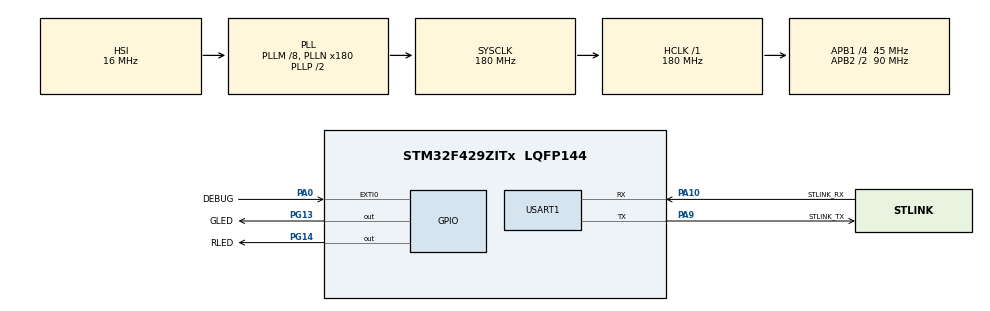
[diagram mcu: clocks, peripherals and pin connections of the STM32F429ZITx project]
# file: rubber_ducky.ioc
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Mcu.Family=STM32F4
Mcu.Name=STM32F429ZITx
Mcu.Package=LQFP144
NVIC.PriorityGroup=NVIC_PRIORITYGROUP_0
NVIC.RTC_Alarm_IRQn=true\:0\:0\:false\:false\:true\:true\:true
NVIC.TIM6_DAC_IRQn=true\:0\:0\:false\:false\:true\:true\:true
NVIC.USART1_IRQn=true\:0\:0\:false\:false\:true\:true\:true
PA0/WKUP.GPIO_Label=DEBUG
PA0/WKUP.Signal=GPXTI0
PA10.GPIO_Label=STLINK_RX
PA10.Mode=Asynchronous
PA10.Signal=USART1_RX
PA13.Mode=Serial_Wire
PA13.Signal=SYS_JTMS-SWDIO
PA14.Mode=Serial_Wire
PA14.Signal=SYS_JTCK-SWCLK
PA9.GPIO_Label=STLINK_TX
PA9.Mode=Asynchronous
PA9.Signal=USART1_TX
PG13.GPIO_Label=GLED
PG13.Signal=GPIO_Output
PG14.GPIO_Label=RLED
PG14.Signal=GPIO_Output
PH0/OSC_IN.Mode=HSE-External-Oscillator
PH0/OSC_IN.Signal=RCC_OSC_IN
PH1/OSC_OUT.Mode=HSE-External-Oscillator
PH1/OSC_OUT.Signal=RCC_OSC_OUT
ProjectManager.HeapSize=0x200
ProjectManager.StackSize=0x400
ProjectManager.TargetToolchain=STM32CubeIDE
RCC.48MHZClocksFreq_Value=51428571.428571425
RCC.AHBFreq_Value=180000000
RCC.APB1CLKDivider=RCC_HCLK_DIV4
RCC.APB1Freq_Value=45000000
RCC.APB1TimFreq_Value=90000000
RCC.APB2CLKDivider=RCC_HCLK_DIV2
RCC.APB2Freq_Value=90000000
RCC.APB2TimFreq_Value=180000000
RCC.CortexFreq_Value=180000000
RCC.HCLKFreq_Value=180000000
RCC.HSE_VALUE=8000000
RCC.HSI_VALUE=16000000
RCC.LSE_VALUE=32768
RCC.PLLM=8
RCC.PLLN=180
RCC.PLLQ=7
RCC.SYSCLKFreq_VALUE=180000000
RCC.SYSCLKSource=RCC_SYSCLKSOURCE_PLLCLK
RCC.VCOOutputFreq_Value=360000000
RTC.Alarm=RTC_ALARM_A
RTC.AlarmDateWeekDay=RTC_WEEKDAY_THURSDAY
RTC.AlarmDateWeekDaySel=RTC_ALARMDATEWEEKDAYSEL_WEEKDAY
RTC.Date=17
RTC.Format=RTC_FORMAT_BIN
RTC.Hours=21
RTC.Hours_A=21
RTC.Minutes=3
RTC.Minutes_A=10
RTC.Month=RTC_MONTH_DECEMBER
RTC.Seconds=30
RTC.Seconds_A=30
RTC.WeekDay=RTC_WEEKDAY_THURSDAY
TIM6.Period=999
TIM6.Prescaler=89
USART1.Parity=PARITY_NONE
USART1.VirtualMode=VM_ASYNC
VP_RTC_VS_RTC_Activate.Mode=RTC_Enabled
VP_RTC_VS_RTC_Alarm_A_Intern.Mode=Alarm A
VP_RTC_VS_RTC_Calendar.Mode=RTC_Calendar
VP_TIM6_VS_ClockSourceINT.Mode=Enable_Timer
board=STM32F429I-DISC1

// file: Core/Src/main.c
/* USER CODE BEGIN Header */
/**
  ******************************************************************************
  * @file           : main.c
  * @brief          : Main program body
  ******************************************************************************
  * @attention
  *
  * <h2><center>&copy; Copyright (c) 2020 STMicroelectronics.
  * All rights reserved.</center></h2>
  *
  * This software component is licensed by ST under BSD 3-Clause license,
  * the "License"; You may not use this file except in compliance with the
  * License. You may obtain a copy of the License at:
  *                        opensource.org/licenses/BSD-3-Clause
  *
  ******************************************************************************
  */
/* USER CODE END Header */

#include "main.h"
#include "rtc.h"
#include "tim.h"
#include "usart.h"
#include "gpio.h"

/* USER CODE BEGIN Includes */
#include <stdio.h>
/* USER CODE END Includes */

/* USER CODE BEGIN PV */
char echoChar = '\n';
uint8_t count = 0;
/* USER CODE END PV */

void SystemClock_Config(void);
/* USER CODE BEGIN PFP */
//int _write(int file, char *ptr, int len)
//{
//  /* Implement your write code here, this is used by puts and printf for example */
//  int i=0;
//  for(i=0 ; i<len ; i++)
//    ITM_SendChar((*ptr++));
//  return len;
//}

#ifdef __GNUC__
  /* With GCC/RAISONANCE, small printf (option LD Linker->Libraries->Small printf
     set to 'Yes') calls __io_putchar() */
  #define PUTCHAR_PROTOTYPE int __io_putchar(int ch)
#else
  #define PUTCHAR_PROTOTYPE int fputc(int ch, FILE *f)
#endif /* __GNUC__ */
/**
  * @brief  Retargets the C library printf function to the USART.
  * @param  None
  * @retval None
  */
PUTCHAR_PROTOTYPE
{
  /* Place your implementation of fputc here */
  /* e.g. write a character to the EVAL_COM1 and Loop until the end of transmission */
  HAL_UART_Transmit(&huart1, (uint8_t *)&ch, 1, 0xFFFF);

  return ch;
}

void HAL_UART_RxCpltCallback(UART_HandleTypeDef *huart)
{
  /* Prevent unused argument(s) compilation warning */
  UNUSED(huart);

  /* NOTE : This function should not be modified, when the callback is needed,
            the HAL_UART_RxCpltCallback can be implemented in the user file
   */
  if (echoChar == '\n')
  {
	  printf("\n");
  }
  else
  {
	  HAL_UART_Transmit(&huart1, (uint8_t *)&echoChar, 1, 0xFFFF);
  }
  HAL_UART_Receive_IT(&huart1, (uint8_t *)&echoChar, 1);
}

void HAL_TIM_PeriodElapsedCallback(TIM_HandleTypeDef *htim)
{
	static uint64_t time_raw = 0;
	time_raw++;
	static uint32_t time_s = 0;
	static uint32_t time_ms = 0;
	time_ms = time_raw % 1000;
	if(time_ms == 0)
	{

		time_s = (time_raw % 60000) / 1000;
		printf("%ld seconds elapsed! \n\r", time_s);
	}

}
/* USER CODE END PFP */

int main(void)
{

  /* MCU Configuration--------------------------------------------------------*/

  /* Reset of all peripherals, Initializes the Flash interface and the Systick. */
  HAL_Init();

  /* Configure the system clock */
  SystemClock_Config();

  /* Initialize all configured peripherals */
  MX_GPIO_Init();
  MX_USART1_UART_Init();
  MX_TIM6_Init();
  MX_RTC_Init();

  /* USER CODE BEGIN 2 */

  printf("\n\r Hello UART\n\r");
  printf("\n\r Hello Printf\n\r");
  HAL_TIM_Base_Start_IT(&htim6);
  HAL_UART_Receive_IT(&huart1, (uint8_t *)&echoChar, 1);

  /* USER CODE END 2 */

  /* Infinite loop */
  while (1)
  {

    /* USER CODE BEGIN 3 */
	  HAL_GPIO_TogglePin(RLED_GPIO_Port, RLED_Pin);
	  //count++;
	  //printf("\n\r Hello from main: %d \n\r", count);

	  HAL_Delay(1000);
  }
  /* USER CODE END 3 */
}

void SystemClock_Config(void)
{
  RCC_OscInitTypeDef RCC_OscInitStruct = {0};
  RCC_ClkInitTypeDef RCC_ClkInitStruct = {0};
  RCC_PeriphCLKInitTypeDef PeriphClkInitStruct = {0};

  /** Configure the main internal regulator output voltage
  */
  __HAL_RCC_PWR_CLK_ENABLE();
  __HAL_PWR_VOLTAGESCALING_CONFIG(PWR_REGULATOR_VOLTAGE_SCALE1);
  /** Initializes the CPU, AHB and APB busses clocks
  */
  RCC_OscInitStruct.OscillatorType = RCC_OSCILLATORTYPE_HSI|RCC_OSCILLATORTYPE_LSI;
  RCC_OscInitStruct.HSIState = RCC_HSI_ON;
  RCC_OscInitStruct.HSICalibrationValue = RCC_HSICALIBRATION_DEFAULT;
  RCC_OscInitStruct.LSIState = RCC_LSI_ON;
  RCC_OscInitStruct.PLL.PLLState = RCC_PLL_ON;
  RCC_OscInitStruct.PLL.PLLSource = RCC_PLLSOURCE_HSI;
  RCC_OscInitStruct.PLL.PLLM = 8;
  RCC_OscInitStruct.PLL.PLLN = 180;
  RCC_OscInitStruct.PLL.PLLP = RCC_PLLP_DIV2;
  RCC_OscInitStruct.PLL.PLLQ = 7;
  if (HAL_RCC_OscConfig(&RCC_OscInitStruct) != HAL_OK)
  {
    Error_Handler();
  }
  /** Activate the Over-Drive mode
  */
  if (HAL_PWREx_EnableOverDrive() != HAL_OK)
  {
    Error_Handler();
  }
  /** Initializes the CPU, AHB and APB busses clocks
  */
  RCC_ClkInitStruct.ClockType = RCC_CLOCKTYPE_HCLK|RCC_CLOCKTYPE_SYSCLK
                              |RCC_CLOCKTYPE_PCLK1|RCC_CLOCKTYPE_PCLK2;
  RCC_ClkInitStruct.SYSCLKSource = RCC_SYSCLKSOURCE_PLLCLK;
  RCC_ClkInitStruct.AHBCLKDivider = RCC_SYSCLK_DIV1;
  RCC_ClkInitStruct.APB1CLKDivider = RCC_HCLK_DIV4;
  RCC_ClkInitStruct.APB2CLKDivider = RCC_HCLK_DIV2;

  if (HAL_RCC_ClockConfig(&RCC_ClkInitStruct, FLASH_LATENCY_5) != HAL_OK)
  {
    Error_Handler();
  }
  PeriphClkInitStruct.PeriphClockSelection = RCC_PERIPHCLK_RTC;
  PeriphClkInitStruct.RTCClockSelection = RCC_RTCCLKSOURCE_LSI;
  if (HAL_RCCEx_PeriphCLKConfig(&PeriphClkInitStruct) != HAL_OK)
  {
    Error_Handler();
  }
}

void Error_Handler(void)
{
}

/************************ (C) COPYRIGHT STMicroelectronics *****END OF FILE****/
